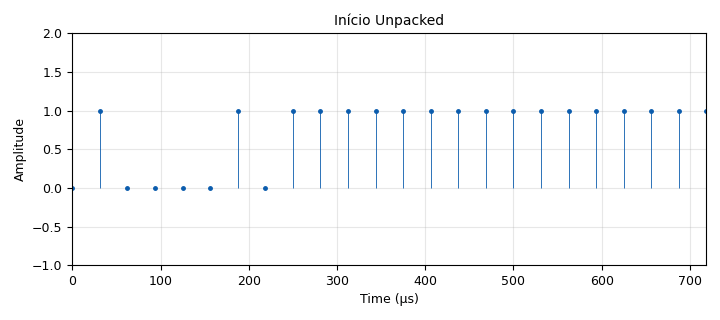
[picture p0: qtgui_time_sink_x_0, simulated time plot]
<?xml version='1.0' encoding='utf-8'?>
<?grc format='1' created='3.7.11'?>
<flow_graph>
<block>
<key>options</key>
<param><key>id</key><value>top_block</value></param>
<param><key>generate_options</key><value>qt_gui</value></param>
</block>
<block>
<key>variable</key>
<param><key>id</key><value>samp_rate</value></param>
<param><key>value</key><value>32000</value></param>
</block>
<block>
<key>ITpp_Hamming_Decoder_par</key>
<param><key>id</key><value>ITpp_Hamming_Decoder_par_0</value></param>
<param><key>m</key><value>3</value></param>
</block>
<block>
<key>ITpp_Hamming_Encoder_par</key>
<param><key>id</key><value>ITpp_Hamming_Encoder_par_0</value></param>
<param><key>m</key><value>3</value></param>
</block>
<block>
<key>blocks_pack_k_bits_bb</key>
<param><key>id</key><value>blocks_pack_k_bits_bb_0</value></param>
<param><key>k</key><value>7</value></param>
</block>
<block>
<key>blocks_repack_bits_bb</key>
<param><key>id</key><value>blocks_repack_bits_bb_0</value></param>
<param><key>k</key><value>7</value></param>
<param><key>l</key><value>8</value></param>
<param><key>endianness</key><value>gr.GR_MSB_FIRST</value></param>
<param><key>align_output</key><value>True</value></param>
</block>
<block>
<key>blocks_throttle</key>
<param><key>id</key><value>blocks_throttle_0</value></param>
<param><key>samples_per_second</key><value>samp_rate*2</value></param>
<param><key>type</key><value>byte</value></param>
</block>
<block>
<key>blocks_uchar_to_float</key>
<param><key>id</key><value>blocks_uchar_to_float_0</value></param>
</block>
<block>
<key>blocks_uchar_to_float</key>
<param><key>id</key><value>blocks_uchar_to_float_0_0</value></param>
</block>
<block>
<key>blocks_uchar_to_float</key>
<param><key>id</key><value>blocks_uchar_to_float_0_0_0</value></param>
</block>
<block>
<key>blocks_uchar_to_float</key>
<param><key>id</key><value>blocks_uchar_to_float_0_1</value></param>
</block>
<block>
<key>blocks_unpack_k_bits_bb</key>
<param><key>id</key><value>blocks_unpack_k_bits_bb_0</value></param>
<param><key>k</key><value>8</value></param>
</block>
<block>
<key>blocks_unpack_k_bits_bb</key>
<param><key>id</key><value>blocks_unpack_k_bits_bb_1</value></param>
<param><key>k</key><value>8</value></param>
</block>
<block>
<key>blocks_vector_source_x</key>
<param><key>id</key><value>blocks_vector_source_x_0</value></param>
<param><key>type</key><value>byte</value></param>
<param><key>repeat</key><value>True</value></param>
<param><key>vector</key><value>(255, 66, 255)</value></param>
</block>
<block>
<key>qtgui_time_sink_x</key>
<param><key>id</key><value>qtgui_time_sink_x_0</value></param>
<param><key>color1</key><value>"blue"</value></param>
<param><key>label1</key><value></value></param>
<param><key>marker1</key><value>0</value></param>
<param><key>style1</key><value>2</value></param>
<param><key>name</key><value>"Início Unpacked"</value></param>
<param><key>size</key><value>8*3</value></param>
<param><key>srate</key><value>samp_rate</value></param>
<param><key>stemplot</key><value>True</value></param>
<param><key>type</key><value>float</value></param>
<param><key>ymax</key><value>2</value></param>
</block>
<block>
<key>qtgui_time_sink_x</key>
<param><key>id</key><value>qtgui_time_sink_x_0_0</value></param>
<param><key>color1</key><value>"red"</value></param>
<param><key>label1</key><value></value></param>
<param><key>marker1</key><value>0</value></param>
<param><key>style1</key><value>2</value></param>
<param><key>name</key><value>"Depois do Encoder"</value></param>
<param><key>size</key><value>8*3/4*7</value></param>
<param><key>srate</key><value>samp_rate</value></param>
<param><key>stemplot</key><value>True</value></param>
<param><key>type</key><value>float</value></param>
<param><key>ymax</key><value>2</value></param>
</block>
<block>
<key>qtgui_time_sink_x</key>
<param><key>id</key><value>qtgui_time_sink_x_0_0_0</value></param>
<param><key>color1</key><value>"red"</value></param>
<param><key>label1</key><value></value></param>
<param><key>marker1</key><value>0</value></param>
<param><key>style1</key><value>2</value></param>
<param><key>name</key><value>"Aux"</value></param>
<param><key>size</key><value>8*3/4*7</value></param>
<param><key>srate</key><value>samp_rate</value></param>
<param><key>stemplot</key><value>True</value></param>
<param><key>type</key><value>float</value></param>
<param><key>ymax</key><value>2</value></param>
</block>
<block>
<key>qtgui_time_sink_x</key>
<param><key>id</key><value>qtgui_time_sink_x_0_1</value></param>
<param><key>color1</key><value>"green"</value></param>
<param><key>label1</key><value></value></param>
<param><key>marker1</key><value>0</value></param>
<param><key>style1</key><value>2</value></param>
<param><key>name</key><value>"Final Unpacked"</value></param>
<param><key>size</key><value>8*3</value></param>
<param><key>srate</key><value>samp_rate</value></param>
<param><key>stemplot</key><value>True</value></param>
<param><key>type</key><value>float</value></param>
<param><key>ymax</key><value>2</value></param>
</block>
<connection><source_block_id>ITpp_Hamming_Decoder_par_0</source_block_id><sink_block_id>blocks_uchar_to_float_0_1</sink_block_id><source_key>0</source_key><sink_key>0</sink_key></connection>
<connection><source_block_id>ITpp_Hamming_Encoder_par_0</source_block_id><sink_block_id>blocks_pack_k_bits_bb_0</sink_block_id><source_key>0</source_key><sink_key>0</sink_key></connection>
<connection><source_block_id>ITpp_Hamming_Encoder_par_0</source_block_id><sink_block_id>blocks_uchar_to_float_0_0</sink_block_id><source_key>0</source_key><sink_key>0</sink_key></connection>
<connection><source_block_id>blocks_pack_k_bits_bb_0</source_block_id><sink_block_id>blocks_repack_bits_bb_0</sink_block_id><source_key>0</source_key><sink_key>0</sink_key></connection>
<connection><source_block_id>blocks_repack_bits_bb_0</source_block_id><sink_block_id>blocks_uchar_to_float_0_0_0</sink_block_id><source_key>0</source_key><sink_key>0</sink_key></connection>
<connection><source_block_id>blocks_repack_bits_bb_0</source_block_id><sink_block_id>blocks_unpack_k_bits_bb_1</sink_block_id><source_key>0</source_key><sink_key>0</sink_key></connection>
<connection><source_block_id>blocks_throttle_0</source_block_id><sink_block_id>blocks_unpack_k_bits_bb_0</sink_block_id><source_key>0</source_key><sink_key>0</sink_key></connection>
<connection><source_block_id>blocks_uchar_to_float_0</source_block_id><sink_block_id>qtgui_time_sink_x_0</sink_block_id><source_key>0</source_key><sink_key>0</sink_key></connection>
<connection><source_block_id>blocks_uchar_to_float_0_0</source_block_id><sink_block_id>qtgui_time_sink_x_0_0</sink_block_id><source_key>0</source_key><sink_key>0</sink_key></connection>
<connection><source_block_id>blocks_uchar_to_float_0_0_0</source_block_id><sink_block_id>qtgui_time_sink_x_0_0_0</sink_block_id><source_key>0</source_key><sink_key>0</sink_key></connection>
<connection><source_block_id>blocks_uchar_to_float_0_1</source_block_id><sink_block_id>qtgui_time_sink_x_0_1</sink_block_id><source_key>0</source_key><sink_key>0</sink_key></connection>
<connection><source_block_id>blocks_unpack_k_bits_bb_0</source_block_id><sink_block_id>ITpp_Hamming_Encoder_par_0</sink_block_id><source_key>0</source_key><sink_key>0</sink_key></connection>
<connection><source_block_id>blocks_unpack_k_bits_bb_0</source_block_id><sink_block_id>blocks_uchar_to_float_0</sink_block_id><source_key>0</source_key><sink_key>0</sink_key></connection>
<connection><source_block_id>blocks_unpack_k_bits_bb_1</source_block_id><sink_block_id>ITpp_Hamming_Decoder_par_0</sink_block_id><source_key>0</source_key><sink_key>0</sink_key></connection>
<connection><source_block_id>blocks_vector_source_x_0</source_block_id><sink_block_id>blocks_throttle_0</sink_block_id><source_key>0</source_key><sink_key>0</sink_key></connection>
</flow_graph>
